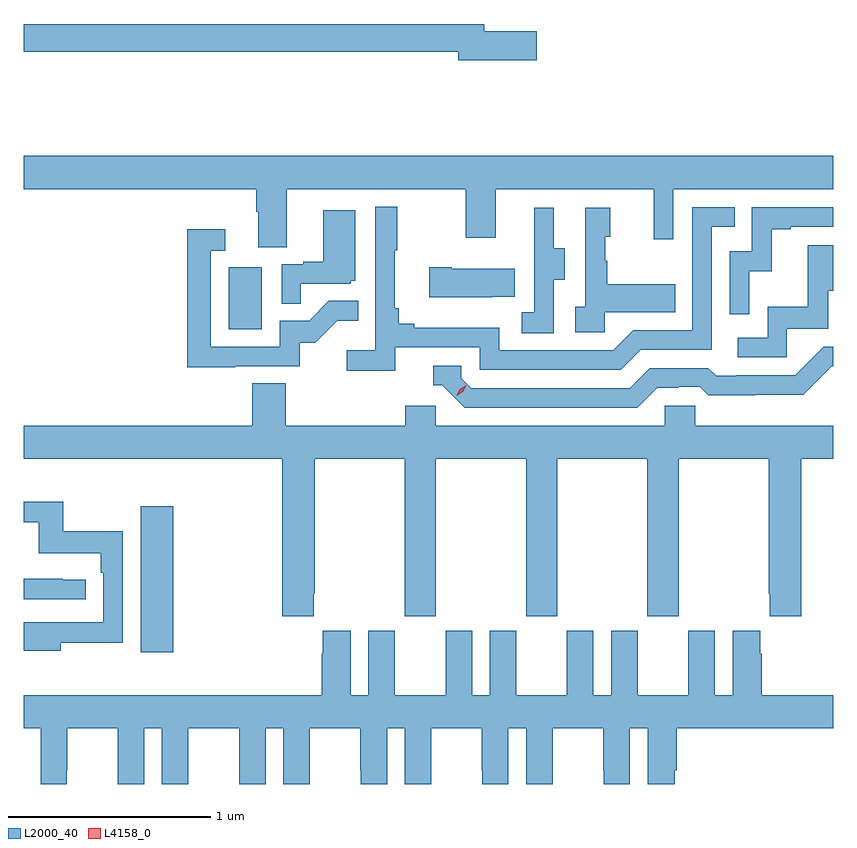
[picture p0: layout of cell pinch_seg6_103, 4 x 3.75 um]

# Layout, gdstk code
import gdstk
lib = gdstk.Library(unit=1e-6, precision=1e-09)
def R(c, l, rs):  # rectangles x0, y0, x1, y1
    for r in rs: c.add(gdstk.rectangle(r[:2], r[2:], *l))
def P(c, l, *ps):  # polygons
    for p in ps: c.add(gdstk.Polygon(p, *l))
L2000_40 = (2000, 40)
L4158_0 = (4158, 0)

pinch_seg6_103 = lib.new_cell('pinch_seg6_103')
R(pinch_seg6_103, L2000_40, [(912.359,921.072,912.52,921.793), (912.794,922.668,912.958,922.975)])
P(pinch_seg6_103, L2000_40, [(914.317,924.14),(914.056,924.14),(914.056,924.176),(911.781,924.176),(911.781,924.04),(913.928,924.04),(913.928,923.998),(914.317,923.998)],
  [(913.081,923.36),(913.966,923.36),(913.966,923.121),(914.113,923.121),(914.113,923.36),(914.894,923.36),(914.894,923.112),(914.991,923.112),(914.991,923.36),(915.781,923.36),(915.781,923.524),(911.781,923.524),(911.781,923.36),(912.929,923.36),(912.929,923.248),(912.941,923.248),(912.941,923.074),(913.081,923.074)],
  [(913.616,922.578),(914.034,922.578),(914.034,922.467),(914.731,922.467),(914.83,922.566),(915.18,922.566),(915.18,923.175),(915.293,923.175),(915.293,923.271),(915.084,923.271),(915.084,922.662),(914.793,922.662),(914.694,922.563),(914.13,922.563),(914.13,922.675),(913.711,922.675),(913.711,922.694),(913.634,922.694),(913.634,922.771),(913.615,922.771),(913.615,923.059),(913.627,923.059),(913.627,923.272),(913.518,923.272),(913.518,922.564),(913.377,922.564),(913.377,922.462),(913.616,922.462)],
  [(915.366,922.955),(915.476,922.955),(915.476,923.163),(915.571,923.163),(915.571,923.175),(915.781,923.175),(915.781,923.271),(915.378,923.271),(915.378,923.052),(915.27,923.052),(915.27,922.743),(915.366,922.743)],
  [(914.4,922.912),(914.455,922.912),(914.455,923.067),(914.401,923.067),(914.401,923.269),(914.303,923.269),(914.303,923.055),(914.304,923.055),(914.304,922.751),(914.241,922.751),(914.241,922.648),(914.4,922.648)],
  [(914.652,922.751),(914.999,922.751),(914.999,922.891),(914.665,922.891),(914.665,923.006),(914.655,923.006),(914.655,923.124),(914.68,923.124),(914.68,923.269),(914.556,923.269),(914.556,922.778),(914.505,922.778),(914.505,922.653),(914.652,922.653)],
  [(913.151,922.893),(913.398,922.893),(913.398,922.908),(913.42,922.908),(913.42,923.257),(913.262,923.257),(913.262,923.002),(913.163,923.002),(913.163,922.989),(913.056,922.989),(913.056,922.795),(913.151,922.795)],
  [(912.827,922.485),(913.146,922.485),(913.146,922.602),(913.222,922.602),(913.329,922.709),(913.433,922.709),(913.433,922.808),(913.289,922.808),(913.191,922.71),(913.047,922.71),(913.047,922.581),(912.705,922.581),(912.705,923.055),(912.778,923.055),(912.778,923.161),(912.589,923.161),(912.589,922.48),(912.827,922.48)],
  [(915.552,922.671),(915.757,922.671),(915.757,922.857),(915.781,922.857),(915.781,923.083),(915.655,923.083),(915.655,922.78),(915.456,922.78),(915.456,922.626),(915.309,922.626),(915.309,922.53),(915.552,922.53)],
  [(914.099,922.829),(914.207,922.829),(914.207,922.966),(913.897,922.966),(913.897,922.974),(913.785,922.974),(913.785,922.826),(914.099,922.826)],
  [(914.911,922.38),(915.018,922.38),(915.018,922.383),(915.121,922.383),(915.163,922.341),(915.396,922.341),(915.396,922.343),(915.632,922.343),(915.774,922.485),(915.781,922.485),(915.781,922.581),(915.735,922.581),(915.594,922.44),(915.301,922.44),(915.301,922.437),(915.202,922.437),(915.163,922.476),(914.874,922.476),(914.775,922.377),(913.992,922.377),(913.944,922.425),(913.944,922.488),(913.805,922.488),(913.805,922.392),(913.848,922.392),(913.959,922.281),(914.812,922.281)],
  [(913.213,921.361),(913.218,921.361),(913.218,922.028),(913.663,922.028),(913.663,921.249),(913.818,921.249),(913.818,922.028),(914.263,922.028),(914.263,921.249),(914.418,921.249),(914.418,922.028),(914.863,922.028),(914.863,921.249),(915.018,921.249),(915.018,922.028),(915.463,922.028),(915.463,921.361),(915.467,921.361),(915.467,921.249),(915.623,921.249),(915.623,922.028),(915.781,922.028),(915.781,922.192),(915.099,922.192),(915.099,922.29),(914.949,922.29),(914.949,922.192),(913.818,922.192),(913.818,922.29),(913.667,922.29),(913.667,922.192),(913.076,922.192),(913.076,922.4),(912.911,922.4),(912.911,922.192),(911.781,922.192),(911.781,922.028),(913.058,922.028),(913.058,921.249),(913.213,921.249)],
  [(911.965,921.118),(912.27,921.118),(912.27,921.67),(911.977,921.67),(911.977,921.816),(911.781,921.816),(911.781,921.715),(911.856,921.715),(911.856,921.56),(912.161,921.56),(912.161,921.464),(912.174,921.464),(912.174,921.219),(911.861,921.219),(911.861,921.22),(911.781,921.22),(911.781,921.08),(911.965,921.08)],
  [(912.088,921.429),(911.975,921.429),(911.975,921.434),(911.781,921.434),(911.781,921.333),(912.088,921.333)],
  [(915.781,920.86),(915.428,920.86),(915.428,921.065),(915.421,921.065),(915.421,921.178),(915.284,921.178),(915.284,920.86),(915.196,920.86),(915.196,921.178),(915.065,921.178),(915.065,920.86),(914.815,920.86),(914.815,921.178),(914.684,921.178),(914.684,920.86),(914.596,920.86),(914.596,921.178),(914.465,921.178),(914.465,920.86),(914.215,920.86),(914.215,921.178),(914.084,921.178),(914.084,920.86),(913.996,920.86),(913.996,921.178),(913.865,921.178),(913.865,920.86),(913.615,920.86),(913.615,921.178),(913.484,921.178),(913.484,920.86),(913.396,920.86),(913.396,921.178),(913.259,921.178),(913.259,921.065),(913.253,921.065),(913.253,920.86),(911.781,920.86),(911.781,920.696),(911.864,920.696),(911.864,920.421),(911.994,920.421),(911.994,920.488),(911.995,920.488),(911.995,920.696),(912.245,920.696),(912.245,920.488),(912.246,920.488),(912.246,920.421),(912.376,920.421),(912.376,920.696),(912.464,920.696),(912.464,920.421),(912.594,920.421),(912.594,920.488),(912.595,920.488),(912.595,920.696),(912.845,920.696),(912.845,920.488),(912.846,920.488),(912.846,920.421),(912.976,920.421),(912.976,920.696),(913.064,920.696),(913.064,920.421),(913.194,920.421),(913.194,920.488),(913.195,920.488),(913.195,920.696),(913.445,920.696),(913.445,920.488),(913.446,920.488),(913.446,920.421),(913.576,920.421),(913.576,920.696),(913.664,920.696),(913.664,920.421),(913.794,920.421),(913.794,920.488),(913.795,920.488),(913.795,920.696),(914.045,920.696),(914.045,920.488),(914.046,920.488),(914.046,920.421),(914.176,920.421),(914.176,920.696),(914.264,920.696),(914.264,920.421),(914.394,920.421),(914.394,920.488),(914.395,920.488),(914.395,920.696),(914.645,920.696),(914.645,920.488),(914.646,920.488),(914.646,920.421),(914.776,920.421),(914.776,920.696),(914.864,920.696),(914.864,920.421),(914.998,920.421),(914.998,920.488),(915.008,920.488),(915.008,920.696),(915.781,920.696)])
P(pinch_seg6_103, L4158_0, [(913.92,922.34),(913.92,922.34),(913.936,922.372),(913.967,922.392),(913.967,922.392),(913.967,922.391),(913.951,922.359),(913.921,922.34)])

lib.write_gds('pinch_seg6_103.gds')
